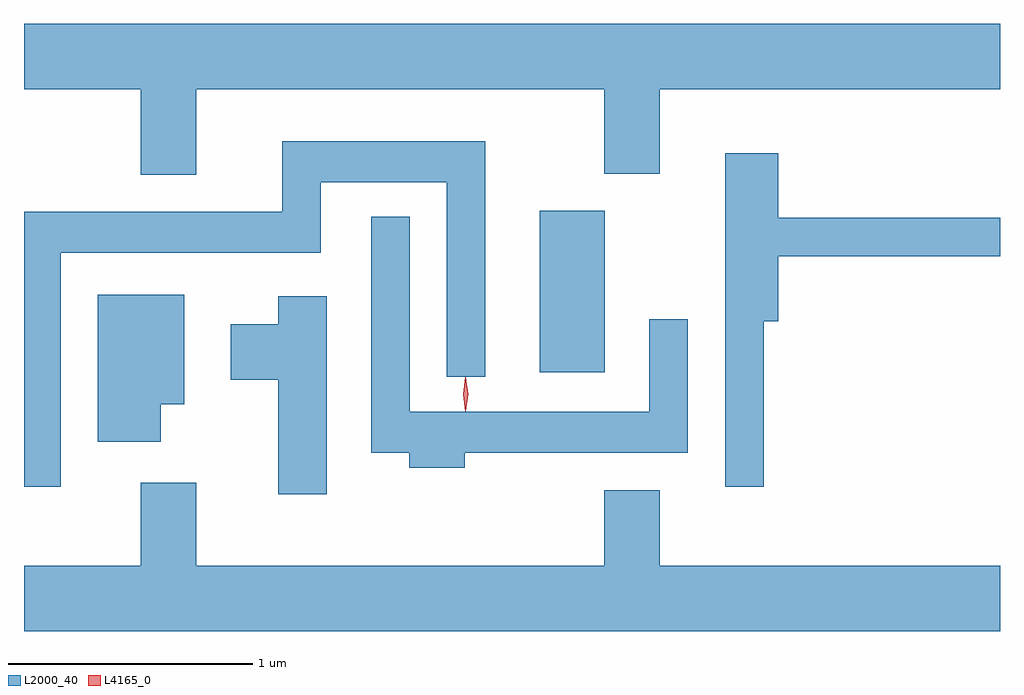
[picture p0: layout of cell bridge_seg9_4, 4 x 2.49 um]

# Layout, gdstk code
import gdstk
lib = gdstk.Library(unit=1e-6, precision=1e-09)
def R(c, l, rs):  # rectangles x0, y0, x1, y1
    for r in rs: c.add(gdstk.rectangle(r[:2], r[2:], *l))
def P(c, l, *ps):  # polygons
    for p in ps: c.add(gdstk.Polygon(p, *l))
L2000_40 = (2000, 40)
L4165_0 = (4165, 0)

bridge_seg9_4 = lib.new_cell('bridge_seg9_4')
R(bridge_seg9_4, L2000_40, [(1716.346,2055.036,1716.614,2055.699)])
P(bridge_seg9_4, L2000_40, [(1714.939,2056.196),(1716.611,2056.196),(1716.611,2055.851),(1716.839,2055.851),(1716.839,2056.196),(1718.233,2056.196),(1718.233,2056.464),(1714.233,2056.464),(1714.233,2056.196),(1714.711,2056.196),(1714.711,2055.846),(1714.939,2055.846)],
  [(1714.384,2055.526),(1715.449,2055.526),(1715.449,2055.816),(1715.966,2055.816),(1715.966,2055.018),(1716.124,2055.018),(1716.124,2055.984),(1715.291,2055.984),(1715.291,2055.694),(1714.233,2055.694),(1714.233,2054.568),(1714.384,2054.568)],
  [(1717.264,2055.246),(1717.324,2055.246),(1717.324,2055.511),(1718.233,2055.511),(1718.233,2055.669),(1717.324,2055.669),(1717.324,2055.934),(1717.106,2055.934),(1717.106,2054.568),(1717.264,2054.568)],
  [(1716.039,2054.706),(1716.954,2054.706),(1716.954,2055.253),(1716.796,2055.253),(1716.796,2054.874),(1715.814,2054.874),(1715.814,2055.673),(1715.656,2055.673),(1715.656,2054.706),(1715.811,2054.706),(1715.811,2054.646),(1716.039,2054.646)],
  [(1714.794,2054.906),(1714.889,2054.906),(1714.889,2055.354),(1714.536,2055.354),(1714.536,2054.751),(1714.794,2054.751)],
  [(1715.474,2055.349),(1715.276,2055.349),(1715.276,2055.234),(1715.081,2055.234),(1715.081,2055.006),(1715.276,2055.006),(1715.276,2054.536),(1715.474,2054.536)],
  [(1718.233,2054.244),(1716.839,2054.244),(1716.839,2054.554),(1716.611,2054.554),(1716.611,2054.244),(1714.939,2054.244),(1714.939,2054.584),(1714.711,2054.584),(1714.711,2054.244),(1714.233,2054.244),(1714.233,2053.976),(1718.233,2053.976)])
P(bridge_seg9_4, L4165_0, [(1716.042,2054.877),(1716.033,2054.947),(1716.042,2055.016),(1716.043,2055.016),(1716.043,2055.016),(1716.053,2054.947),(1716.043,2054.877),(1716.043,2054.877)])

lib.write_gds('bridge_seg9_4.gds')
